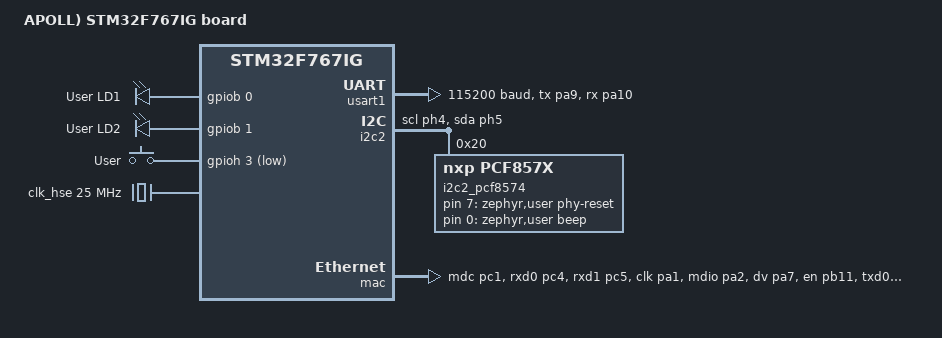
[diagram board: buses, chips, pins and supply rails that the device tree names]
/*
 * Copyright (c) 2019 Roland Ma
 *
 * SPDX-License-Identifier: Apache-2.0
 */

/dts-v1/;
#include <stm32f767ig.dtsi>
#include <st/f7/stm32f767i(g-i)tx-pinctrl.dtsi>
#include <zephyr/dt-bindings/input/input-event-codes.h>

/ {
	model = "APOLL) STM32F767IG board";
	compatible = "st,apollo_stm32f767ig";

	chosen {
		zephyr,console = &usart1;
		zephyr,shell-uart = &usart1;
		zephyr,sram = &sram0;
		zephyr,flash = &flash0;
		zephyr,dtcm = &dtcm;
	};

	leds: leds {
		compatible = "gpio-leds";
		yellow_led: led_0 {
			gpios = <&gpiob 0 GPIO_ACTIVE_HIGH>;
			label = "User LD1";
		};
		red_led: led_1 {
			gpios = <&gpiob 1 GPIO_ACTIVE_HIGH>;
			label = "User LD2";
		};
	};

	gpio_keys {
		compatible = "gpio-keys";
		user_button: button_0 {
			label = "User";
			gpios = <&gpioh 3 GPIO_ACTIVE_LOW>;
			zephyr,code = <INPUT_KEY_0>;
		};
	};

	aliases {
		led0 = &yellow_led;
		led1 = &red_led;
		sw0 = &user_button;
		watchdog0 = &iwdg;
		volt-sensor0 = &vref;
		volt-sensor1 = &vbat;
	};
	zephyr,user {
		phy-reset-gpios = <&i2c2_pcf8574 7 GPIO_ACTIVE_HIGH>;
		beep-gpios = <&i2c2_pcf8574 0 GPIO_ACTIVE_HIGH>;
	};
};

&clk_lsi {
	status = "okay";
};

&clk_hse {
	clock-frequency = <DT_FREQ_M(25)>;
	status = "okay";
};

&pll {
	div-m = <25>;
	mul-n = <432>;
	div-p = <2>;
	div-q = <2>;
	clocks = <&clk_hse>;
	status = "okay";
};

&rcc {
	clocks = <&pll>;
	clock-frequency = <DT_FREQ_M(216)>;
	ahb-prescaler = <1>;
	apb1-prescaler = <4>;
	apb2-prescaler = <2>;
};

&usart1 {
	pinctrl-0 = <&usart1_tx_pa9 &usart1_rx_pa10>;
	pinctrl-names = "default";
	current-speed = <115200>;
	status = "okay";
};

&i2c2 {
	pinctrl-0 = <&i2c2_scl_ph4 &i2c2_sda_ph5>;
	pinctrl-names = "default";
	i2c2_pcf8574: i2c2_pcf8574@20 {
		 compatible = "nxp,pcf857x";
		 reg = <0x20>;
		 gpio-controller;
		 #gpio-cells = <2>;
		 ngpios = <8>;
		 status = "okay";
	};
	status = "okay";
};

&mac {
	pinctrl-0 = <&eth_mdc_pc1 &eth_rxd0_pc4 &eth_rxd1_pc5 &eth_ref_clk_pa1 &eth_mdio_pa2 &eth_crs_dv_pa7 &eth_tx_en_pb11 &eth_txd0_pg13 &eth_txd1_pg14>;
	pinctrl-names = "default";
	status = "okay";
};

